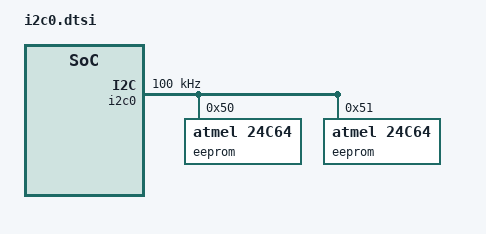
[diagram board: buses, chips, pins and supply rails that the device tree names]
/*
 * list devices on I2C bus
 */

&i2c0 {

	clock-frequency = <100000>;

	eeprom@50 {
		compatible = "atmel,24c64";
		#address-cells = <1>;
		#size-cells = <1>;
		reg = <0x50>;
		pagesize = <32>;
	};

	eeprom@51 {
		compatible = "atmel,24c64";
		#address-cells = <1>;
		#size-cells = <1>;
		reg = <0x51>;
		pagesize = <32>;
	};
};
